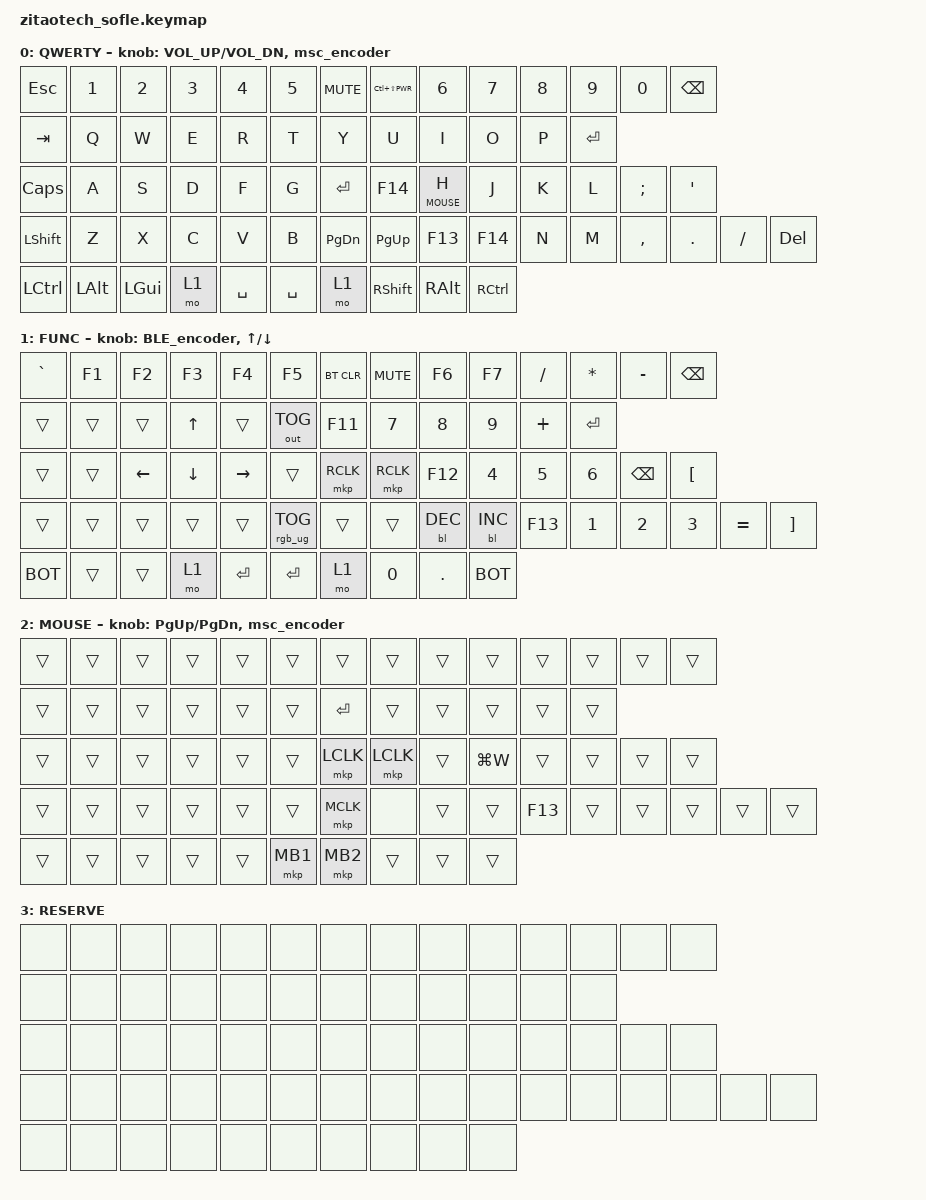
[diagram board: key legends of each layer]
/*
 * Copyright (c) 2025 ZitaoTech
 *
 * SPDX-License-Identifier: MIT
 */

#include <dt-bindings/zmk/mouse.h>
#include <behaviors.dtsi>
#include <dt-bindings/zmk/backlight.h>
#include <dt-bindings/zmk/bt.h>
#include <dt-bindings/zmk/keys.h>
#include <dt-bindings/zmk/outputs.h>
#include <dt-bindings/zmk/pointing.h>
#include <dt-bindings/zmk/rgb.h>

#define FUNC 1
#define MOUSE 2
#define RES 3
#define BOT bootloader

/ {
    behaviors {
        td0: tap_dance_0 {
            compatible = "zmk,behavior-tap-dance";
            #binding-cells = <0>;
            tapping-term-ms = <400>;
            bindings = <&mkp LCLK>, <&bt BT_CLR>;
        };
    };

    behaviors {
        hm: homerow_mods {
            compatible = "zmk,behavior-hold-tap";
            #binding-cells = <2>;
            tapping-term-ms = <500>;
            bindings = <&kp &kp>;
        };
    };

    behaviors {
        sp_sc: behavior_spacescroll {
            compatible = "zmk,behavior-hold-tap";
            #binding-cells = <2>;
            flavor = "tap-preferred";     /* 单击优先 */
            tapping-term-ms = <200>;       /* 长按阈值 */
            bindings = <&none &kp>;        /* hold=none, tap=space */
        };
    };

    behaviors {
        BLE_encoder: BLE_encoder {
            compatible = "zmk,behavior-sensor-rotate";
            #sensor-binding-cells = <0>;
            bindings = <&bt BT_NXT>, <&bt BT_PRV>;
        };
    };

    /* 鼠标滚轮编码器行为 */

    behaviors {
        msc_encoder: msc_encoder {
            compatible = "zmk,behavior-sensor-rotate";
            #sensor-binding-cells = <0>;
            bindings = <&msc SCRL_DOWN>, <&msc SCRL_UP>;

            tap-ms = <30>;
        };
    };

    /* 长按切换到鼠标层，短按发送按键 */

    behaviors {
        lt: layer_tap {
            compatible = "zmk,behavior-hold-tap";
            #binding-cells = <2>;
            flavor = "balanced";           /* 平衡模式 */
            tapping-term-ms = <200>;        /* 200ms阈值 */
            quick-tap-ms = <100>;           /* 快速双击保护 */
            bindings = <&mo &kp>;           /* hold=切换层, tap=按键 */
        };
    };

    keymap {
        compatible = "zmk,keymap";

        default_layer {
            display-name = "QWERTY";
            bindings = <
&kp ESC    &kp N1    &kp N2    &kp N3  &kp N4     &kp N5     &kp C_MUTE  &kp LC(LS(K_PWR))  &kp N6       &kp N7     &kp N8  &kp N9     &kp N0     &kp BSPC
&kp TAB    &kp Q     &kp W     &kp E   &kp R      &kp T      &kp Y       &kp U              &kp I        &kp O      &kp P   &kp ENTER
&kp CAPS   &kp A     &kp S     &kp D   &kp F      &kp G      &kp ENTER   &kp F14            &lt MOUSE H  &kp J      &kp K   &kp L      &kp SEMI   &kp SQT
&kp LSHFT  &kp Z     &kp X     &kp C   &kp V      &kp B      &kp PG_DN   &kp PG_UP          &kp F13      &kp F14    &kp N   &kp M      &kp COMMA  &kp DOT   &kp FSLH  &kp DEL
&kp LCTRL  &kp LALT  &kp LGUI  &mo 1   &kp SPACE  &kp SPACE  &mo 1       &kp RIGHT_SHIFT    &kp RALT     &kp RCTRL
            >;

            sensor-bindings = <&inc_dec_kp C_VOL_UP C_VOL_DN &msc_encoder>;
        };

        func_layer {
            display-name = "FUNC";
            bindings = <
&kp GRAVE  &kp F1  &kp F2    &kp F3        &kp F4     &kp F5           &bt BT_CLR  &kp C_MUTE    &kp F6        &kp F7        &kp SLASH     &kp ASTERISK  &kp MINUS      &kp BSPC
&trans     &trans  &trans    &kp UP_ARROW  &trans     &out OUT_TOG     &kp F11     &kp NUMBER_7  &kp NUMBER_8  &kp NUMBER_9  &kp PLUS      &kp ENTER
&trans     &trans  &kp LEFT  &kp DOWN      &kp RIGHT  &trans           &mkp RCLK   &mkp RCLK     &kp F12       &kp NUMBER_4  &kp NUMBER_5  &kp NUMBER_6  &kp BACKSPACE  &kp LEFT_BRACKET
&trans     &trans  &trans    &trans        &trans     &rgb_ug RGB_TOG  &trans      &trans        &bl BL_DEC    &bl BL_INC    &kp F13       &kp NUMBER_1  &kp NUMBER_2   &kp NUMBER_3      &kp EQUAL  &kp RIGHT_BRACKET
&BOT       &trans  &trans    &mo 1         &kp ENTER  &kp ENTER        &mo 1       &kp NUMBER_0  &kp DOT       &BOT
            >;

            sensor-bindings = <&BLE_encoder &inc_dec_kp UP DOWN>;
        };

        mouse_layer {
            display-name = "MOUSE";
            bindings = <
&trans  &trans  &trans  &trans  &trans  &trans    &trans     &trans     &trans  &trans     &trans   &trans  &trans  &trans
&trans  &trans  &trans  &trans  &trans  &trans    &kp ENTER  &trans     &trans  &trans     &trans   &trans
&trans  &trans  &trans  &trans  &trans  &trans    &mkp LCLK  &mkp LCLK  &trans  &kp LG(W)  &trans   &trans  &trans  &trans
&trans  &trans  &trans  &trans  &trans  &trans    &mkp MCLK  &none      &trans  &trans     &kp F13  &trans  &trans  &trans  &trans  &trans
&trans  &trans  &trans  &trans  &trans  &mkp MB1  &mkp MB2   &trans     &trans  &trans
            >;

            sensor-bindings = <&inc_dec_kp PG_UP PG_DN &msc_encoder>;
        };

        RES_layer {
            display-name = "RESERVE";
            bindings = <
&none  &none  &none  &none  &none  &none  &none  &none  &none  &none  &none  &none  &none  &none
&none  &none  &none  &none  &none  &none  &none  &none  &none  &none  &none  &none
&none  &none  &none  &none  &none  &none  &none  &none  &none  &none  &none  &none  &none  &none
&none  &none  &none  &none  &none  &none  &none  &none  &none  &none  &none  &none  &none  &none  &none  &none
&none  &none  &none  &none  &none  &none  &none  &none  &none  &none
            >;
        };
    };
};
